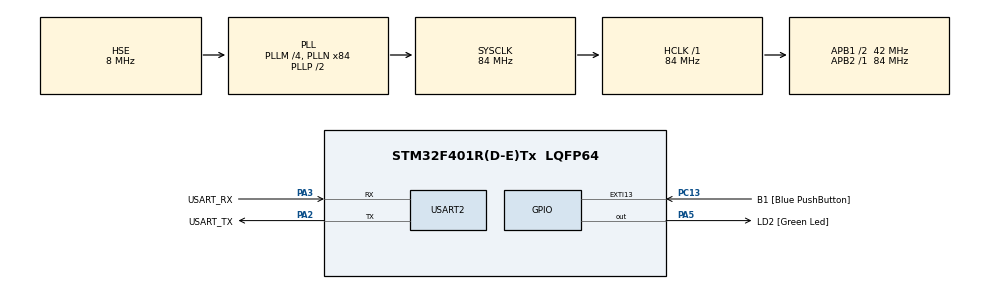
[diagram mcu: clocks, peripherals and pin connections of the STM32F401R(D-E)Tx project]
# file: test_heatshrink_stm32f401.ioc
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Mcu.Family=STM32F4
Mcu.Name=STM32F401R(D-E)Tx
Mcu.Package=LQFP64
NVIC.PriorityGroup=NVIC_PRIORITYGROUP_0
PA13.GPIO_Label=TMS
PA13.Mode=Serial_Wire
PA13.Signal=SYS_JTMS-SWDIO
PA14.GPIO_Label=TCK
PA14.Mode=Serial_Wire
PA14.Signal=SYS_JTCK-SWCLK
PA2.GPIO_Label=USART_TX
PA2.GPIO_Mode=GPIO_MODE_AF_PP
PA2.GPIO_PuPd=GPIO_NOPULL
PA2.GPIO_Speed=GPIO_SPEED_FREQ_LOW
PA2.Mode=Asynchronous
PA2.Signal=USART2_TX
PA3.GPIO_Label=USART_RX
PA3.GPIO_Mode=GPIO_MODE_AF_PP
PA3.GPIO_PuPd=GPIO_NOPULL
PA3.GPIO_Speed=GPIO_SPEED_FREQ_LOW
PA3.Mode=Asynchronous
PA3.Signal=USART2_RX
PA5.GPIO_Label=LD2 [Green Led]
PA5.GPIO_Mode=GPIO_MODE_OUTPUT_PP
PA5.GPIO_PuPd=GPIO_NOPULL
PA5.GPIO_Speed=GPIO_SPEED_FREQ_LOW
PA5.Signal=GPIO_Output
PB3.GPIO_Label=SWO
PB3.Signal=SYS_JTDO-SWO
PC13-ANTI_TAMP.GPIO_Label=B1 [Blue PushButton]
PC13-ANTI_TAMP.GPIO_ModeDefaultEXTI=GPIO_MODE_IT_FALLING
PC13-ANTI_TAMP.GPIO_PuPd=GPIO_NOPULL
PC13-ANTI_TAMP.Signal=GPXTI13
PC14-OSC32_IN.Mode=LSE-External-Oscillator
PC14-OSC32_IN.Signal=RCC_OSC32_IN
PC15-OSC32_OUT.Mode=LSE-External-Oscillator
PC15-OSC32_OUT.Signal=RCC_OSC32_OUT
PH0\ -\ OSC_IN.Mode=HSE-External-Clock-Source
PH0\ -\ OSC_IN.Signal=RCC_OSC_IN
PH1\ -\ OSC_OUT.Mode=HSE-External-Clock-Source
PH1\ -\ OSC_OUT.Signal=RCC_OSC_OUT
ProjectManager.HeapSize=0x200
ProjectManager.StackSize=0x400
ProjectManager.TargetToolchain=MDK-ARM V5.27
RCC.48MHZClocksFreq_Value=48000000
RCC.AHBFreq_Value=84000000
RCC.APB1CLKDivider=RCC_HCLK_DIV2
RCC.APB1Freq_Value=42000000
RCC.APB1TimFreq_Value=84000000
RCC.APB2Freq_Value=84000000
RCC.APB2TimFreq_Value=84000000
RCC.CortexFreq_Value=84000000
RCC.HCLKFreq_Value=84000000
RCC.HSE_VALUE=8000000
RCC.HSI_VALUE=16000000
RCC.PLLN=336
RCC.PLLP=RCC_PLLP_DIV4
RCC.PLLQ=7
RCC.SYSCLKFreq_VALUE=84000000
RCC.SYSCLKSource=RCC_SYSCLKSOURCE_PLLCLK
RCC.VCOOutputFreq_Value=336000000
USART2.VirtualMode=VM_ASYNC
board=NUCLEO-F401RE

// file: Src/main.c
/* USER CODE BEGIN Header */
/**
  ******************************************************************************
  * @file           : main.c
  * @brief          : Main program body
  ******************************************************************************
  * @attention
  *
  * <h2><center>&copy; Copyright (c) 2020 STMicroelectronics.
  * All rights reserved.</center></h2>
  *
  * This software component is licensed by ST under BSD 3-Clause license,
  * the "License"; You may not use this file except in compliance with the
  * License. You may obtain a copy of the License at:
  *                        opensource.org/licenses/BSD-3-Clause
  *
  ******************************************************************************
  */
/* USER CODE END Header */

#include "main.h"

/* USER CODE BEGIN Includes */
#include <stdio.h>
#include "decodetest.h"

/* USER CODE END Includes */

UART_HandleTypeDef huart2;

void SystemClock_Config(void);
static void MX_GPIO_Init(void);
static void MX_USART2_UART_Init(void);

int main(void)
{
  /* USER CODE BEGIN 1 */
	extern uint8_t octo1_raw_lzh[];
	extern unsigned int octo1_raw_lzh_len;

  /* USER CODE END 1 */

  /* MCU Configuration--------------------------------------------------------*/

  /* Reset of all peripherals, Initializes the Flash interface and the Systick. */
  HAL_Init();

  /* Configure the system clock */
  SystemClock_Config();

  /* Initialize all configured peripherals */
  MX_GPIO_Init();
  MX_USART2_UART_Init();

  /* Infinite loop */
  while (1)
  {

    /* USER CODE BEGIN 3 */
		printf("decoding...\n");
		decodeTest(octo1_raw_lzh, octo1_raw_lzh_len);
		printf("done\n");

		HAL_GPIO_TogglePin(LD2_GPIO_Port, LD2_Pin);
		HAL_Delay(200);
		while(1);
  }
  /* USER CODE END 3 */
}

void SystemClock_Config(void)
{
  RCC_OscInitTypeDef RCC_OscInitStruct = {0};
  RCC_ClkInitTypeDef RCC_ClkInitStruct = {0};

  /** Configure the main internal regulator output voltage
  */
  __HAL_RCC_PWR_CLK_ENABLE();
  __HAL_PWR_VOLTAGESCALING_CONFIG(PWR_REGULATOR_VOLTAGE_SCALE2);
  /** Initializes the CPU, AHB and APB busses clocks
  */
  RCC_OscInitStruct.OscillatorType = RCC_OSCILLATORTYPE_HSE;
  RCC_OscInitStruct.HSEState = RCC_HSE_BYPASS;
  RCC_OscInitStruct.PLL.PLLState = RCC_PLL_ON;
  RCC_OscInitStruct.PLL.PLLSource = RCC_PLLSOURCE_HSE;
  RCC_OscInitStruct.PLL.PLLM = 4;
  RCC_OscInitStruct.PLL.PLLN = 84;
  RCC_OscInitStruct.PLL.PLLP = RCC_PLLP_DIV2;
  RCC_OscInitStruct.PLL.PLLQ = 7;
  if (HAL_RCC_OscConfig(&RCC_OscInitStruct) != HAL_OK)
  {
    Error_Handler();
  }
  /** Initializes the CPU, AHB and APB busses clocks
  */
  RCC_ClkInitStruct.ClockType = RCC_CLOCKTYPE_HCLK|RCC_CLOCKTYPE_SYSCLK
                              |RCC_CLOCKTYPE_PCLK1|RCC_CLOCKTYPE_PCLK2;
  RCC_ClkInitStruct.SYSCLKSource = RCC_SYSCLKSOURCE_PLLCLK;
  RCC_ClkInitStruct.AHBCLKDivider = RCC_SYSCLK_DIV1;
  RCC_ClkInitStruct.APB1CLKDivider = RCC_HCLK_DIV2;
  RCC_ClkInitStruct.APB2CLKDivider = RCC_HCLK_DIV1;

  if (HAL_RCC_ClockConfig(&RCC_ClkInitStruct, FLASH_LATENCY_2) != HAL_OK)
  {
    Error_Handler();
  }
}

static void MX_USART2_UART_Init(void)
{

  huart2.Instance = USART2;
  huart2.Init.BaudRate = 115200;
  huart2.Init.WordLength = UART_WORDLENGTH_8B;
  huart2.Init.StopBits = UART_STOPBITS_1;
  huart2.Init.Parity = UART_PARITY_NONE;
  huart2.Init.Mode = UART_MODE_TX_RX;
  huart2.Init.HwFlowCtl = UART_HWCONTROL_NONE;
  huart2.Init.OverSampling = UART_OVERSAMPLING_16;
  if (HAL_UART_Init(&huart2) != HAL_OK)
  {
    Error_Handler();
  }

}

static void MX_GPIO_Init(void)
{
  GPIO_InitTypeDef GPIO_InitStruct = {0};

  /* GPIO Ports Clock Enable */
  __HAL_RCC_GPIOC_CLK_ENABLE();
  __HAL_RCC_GPIOH_CLK_ENABLE();
  __HAL_RCC_GPIOA_CLK_ENABLE();
  __HAL_RCC_GPIOB_CLK_ENABLE();

  /*Configure GPIO pin Output Level */
  HAL_GPIO_WritePin(LD2_GPIO_Port, LD2_Pin, GPIO_PIN_RESET);

  /*Configure GPIO pin : B1_Pin */
  GPIO_InitStruct.Pin = B1_Pin;
  GPIO_InitStruct.Mode = GPIO_MODE_IT_FALLING;
  GPIO_InitStruct.Pull = GPIO_NOPULL;
  HAL_GPIO_Init(B1_GPIO_Port, &GPIO_InitStruct);

  /*Configure GPIO pin : LD2_Pin */
  GPIO_InitStruct.Pin = LD2_Pin;
  GPIO_InitStruct.Mode = GPIO_MODE_OUTPUT_PP;
  GPIO_InitStruct.Pull = GPIO_NOPULL;
  GPIO_InitStruct.Speed = GPIO_SPEED_FREQ_LOW;
  HAL_GPIO_Init(LD2_GPIO_Port, &GPIO_InitStruct);

}

/* USER CODE BEGIN 4 */

int uartSendChar(int ch)
{
	HAL_UART_Transmit(&huart2, (uint8_t *)&ch, 1, HAL_MAX_DELAY);
	return ch;
}

int fputc(int ch, FILE *f)
{
	return uartSendChar(ch);
}

/* USER CODE END 4 */

void Error_Handler(void)
{
}

/************************ (C) COPYRIGHT STMicroelectronics *****END OF FILE****/
